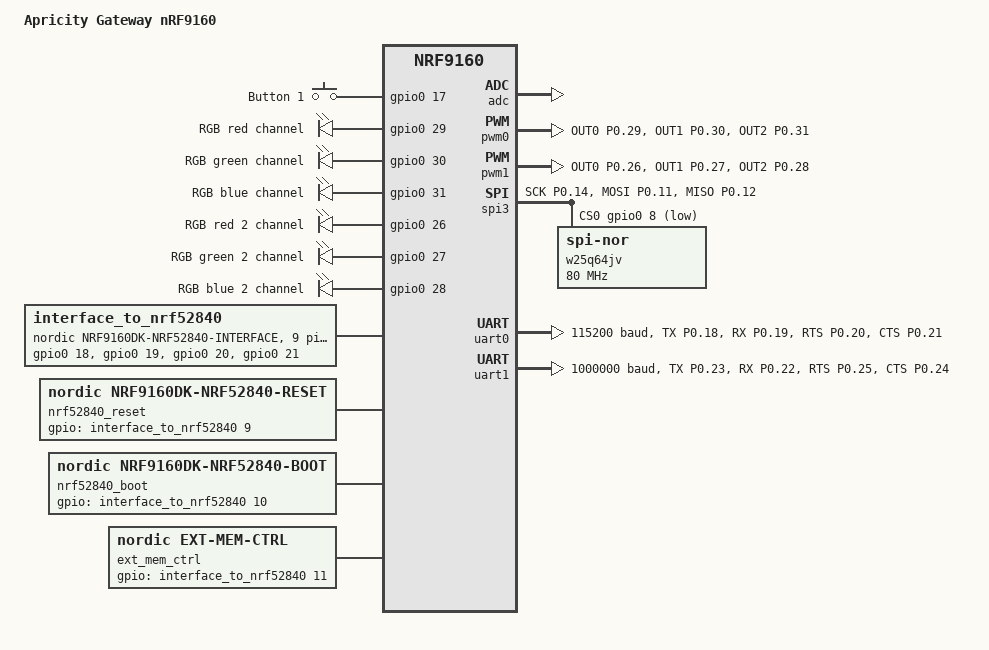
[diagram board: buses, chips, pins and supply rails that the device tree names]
/*
 * Copyright (c) 2025 Nordic Semiconductor ASA
 *
 * SPDX-License-Identifier: LicenseRef-Nordic-5-Clause
 */

/ {
	model = "Apricity Gateway nRF9160";
	compatible = "apricity,apricity-gateway-nrf9160";

	chosen {
		zephyr,console = &uart0;
		zephyr,shell-uart = &uart0;
		zephyr,uart-mcumgr = &uart0;
		zephyr,bt-hci=&bt_hci_uart;
	};

	buttons {
		compatible = "gpio-keys";

		button0: button_0 {
			gpios = <&gpio0 17 0>;
			label = "Button 1";
		};
	};

	leds {
		compatible = "gpio-leds";
		red_led: led_1 {
			gpios = <&gpio0 29 0>;
			label = "RGB red channel";
		};
		green_led: led_2 {
			gpios = <&gpio0 30 0>;
			label = "RGB green channel";
		};
		blue_led: led_3 {
			gpios = <&gpio0 31 0>;
			label = "RGB blue channel";
		};
		red_led_2: led_4 {
			gpios = <&gpio0 26 0>;
			label = "RGB red 2 channel";
		};
		green_led_2: led_5 {
			gpios = <&gpio0 27 0>;
			label = "RGB green 2 channel";
		};
		blue_led_2: led_6 {
			gpios = <&gpio0 28 0>;
			label = "RGB blue 2 channel";
		};
	};

	interface_to_nrf52840: gpio-interface {
		compatible = "nordic,nrf9160dk-nrf52840-interface";
		#gpio-cells = <2>;
		gpio-map-mask = <0xf 0>;
		gpio-map-pass-thru = <0 0xffffffff>;
		gpio-map = <0 0 &gpio0 18 0>,
			   <1 0 &gpio0 19 0>,
			   <2 0 &gpio0 20 0>,
			   <3 0 &gpio0 21 0>,
			   <4 0 &gpio0 22 0>,
			   <5 0 &gpio0 23 0>,
			   /* 6: COEX0 */
			   /* 7: COEX1 */
			   /* 8: COEX2 */
			   <9 0 &gpio0 13 0>,
			   <10 0 &gpio0 5 0>,
			   <11 0 &gpio0 9 0>;
	};

	nrf52840_reset: gpio-reset {
		compatible = "nordic,nrf9160dk-nrf52840-reset";
		status = "okay";
		/*
		 * This line is specified as active high for compatibility
		 * with the previously used Kconfig-based configuration.
		 */
		gpios = <&interface_to_nrf52840 9 GPIO_ACTIVE_HIGH>;
	};

	nrf52840_boot: gpio-boot {
		compatible = "nordic,nrf9160dk-nrf52840-boot";
		status = "okay";
		gpios = <&interface_to_nrf52840 10 GPIO_PULL_UP>;
	};

	ext_mem_ctrl: gpio-ext-mem-ctrl {
		compatible = "nordic,ext-mem-ctrl";
		status = "okay";
		gpios = <&interface_to_nrf52840 11 0>;
	};

	aliases {
		sw0 = &button0;
		led0 = &red_led;
		led1 = &green_led;
		led2 = &blue_led;
		led0-1 = &red_led_2;
		led1-1 = &green_led_2;
		led2-1 = &blue_led_2;
		rgb-pwm = &pwm0;
		rgb2-pwm = &pwm1;
	};
};

&adc {
	status = "okay";
};

&gpiote {
	status = "okay";
};

&gpio0 {
	status = "okay";
};

/* PWM0 is intended for RGB LED control */
&pwm0 {
	compatible = "nordic,nrf-pwm";
	status = "okay";
	pinctrl-0 = <&pwm0_default>;
	pinctrl-1 = <&pwm0_sleep>;
	pinctrl-names = "default", "sleep";
};

/* PWM1 is intended for RGB LED control */
&pwm1 {
	compatible = "nordic,nrf-pwm";
	status = "okay";
	pinctrl-0 = <&pwm1_default>;
	pinctrl-1 = <&pwm1_sleep>;
	pinctrl-names = "default", "sleep";
};

&spi3 {
	compatible = "nordic,nrf-spim";
	status = "okay";
	pinctrl-0 = <&spi3_default_alt>;
	pinctrl-1 = <&spi3_sleep_alt>;
	pinctrl-names = "default", "sleep";
	cs-gpios = <&gpio0 8 1>;
	w25q64jv: w25q64jv@0 {
		status = "okay";
		compatible = "jedec,spi-nor";
		reg = <0>;
		spi-max-frequency = <80000000>;
		jedec-id = [ef 40 17];
		size = <67108864>;
	};
};

&pinctrl {
	spi3_default_alt: spi3_default_alt {
		group1 {
			psels = <NRF_PSEL(SPIM_SCK, 0, 14)>,
				<NRF_PSEL(SPIM_MOSI, 0, 11)>,
				<NRF_PSEL(SPIM_MISO, 0, 12)>;
			nordic,drive-mode = <NRF_DRIVE_H0H1>;
		};
	};

	spi3_sleep_alt: spi3_sleep_alt {
		group1 {
			psels = <NRF_PSEL(SPIM_SCK, 0, 14)>,
				<NRF_PSEL(SPIM_MOSI, 0, 11)>,
				<NRF_PSEL(SPIM_MISO, 0, 12)>;
			low-power-enable;
		};
	};

	pwm0_default: pwm0_default {
		group1 {
			psels = <NRF_PSEL(PWM_OUT0, 0, 29)>,
				<NRF_PSEL(PWM_OUT1, 0, 30)>,
				<NRF_PSEL(PWM_OUT2, 0, 31)>;
			nordic,invert;
		};
	};

	pwm0_sleep: pwm0_sleep {
		group1 {
			psels = <NRF_PSEL(PWM_OUT0, 0, 29)>,
				<NRF_PSEL(PWM_OUT1, 0, 30)>,
				<NRF_PSEL(PWM_OUT2, 0, 31)>;
			low-power-enable;
			nordic,invert;
		};
	};

	pwm1_default: pwm1_default {
		group1 {
			psels = <NRF_PSEL(PWM_OUT0, 0, 26)>,
				<NRF_PSEL(PWM_OUT1, 0, 27)>,
				<NRF_PSEL(PWM_OUT2, 0, 28)>;
			nordic,invert;
		};
	};

	pwm1_sleep: pwm1_sleep {
		group1 {
			psels = <NRF_PSEL(PWM_OUT0, 0, 26)>,
				<NRF_PSEL(PWM_OUT1, 0, 27)>,
				<NRF_PSEL(PWM_OUT2, 0, 28)>;
			low-power-enable;
			nordic,invert;
		};
	};

	uart0_default: uart0_default {
		group1 {
			psels = <NRF_PSEL(UART_TX, 0, 18)>,
				<NRF_PSEL(UART_RX, 0, 19)>,
				<NRF_PSEL(UART_RTS, 0, 20)>,
				<NRF_PSEL(UART_CTS, 0, 21)>;
		};
	};

	uart0_sleep: uart0_sleep {
		group1 {
			psels = <NRF_PSEL(UART_TX, 0, 18)>,
				<NRF_PSEL(UART_RX, 0, 19)>,
				<NRF_PSEL(UART_RTS, 0, 20)>,
				<NRF_PSEL(UART_CTS, 0, 21)>;
			low-power-enable;
		};
	};

	uart1_default: uart1_default {
		group1 {
			psels = <NRF_PSEL(UART_TX, 0, 23)>,
				<NRF_PSEL(UART_RX, 0, 22)>,
				<NRF_PSEL(UART_RTS, 0, 25)>,
				<NRF_PSEL(UART_CTS, 0, 24)>;
		};
	};

	uart1_sleep: uart1_sleep {
		group1 {
			psels = <NRF_PSEL(UART_TX, 0, 23)>,
				<NRF_PSEL(UART_RX, 0, 22)>,
				<NRF_PSEL(UART_RTS, 0, 25)>,
				<NRF_PSEL(UART_CTS, 0, 24)>;
			low-power-enable;
		};
	};
};

&uart0 {
	compatible = "nordic,nrf-uarte";
	current-speed = <115200>;
	status = "okay";
	pinctrl-0 = <&uart0_default>;
	pinctrl-1 = <&uart0_sleep>;
	pinctrl-names = "default", "sleep";
};

&uart1 {
	compatible = "nordic,nrf-uarte";
	current-speed = <1000000>;
	status = "okay";
	hw-flow-control;
	pinctrl-0 = <&uart1_default>;
	pinctrl-1 = <&uart1_sleep>;
	pinctrl-names = "default", "sleep";
	bt_hci_uart: bt_hci_uart {
		compatible = "zephyr,bt-hci-uart";
		status = "okay";
	};
};

&flash0 {
	/*
	 * For more information, see:
	 * http://docs.zephyrproject.org/devices/dts/flash_partitions.html
	 */
	partitions {
		compatible = "fixed-partitions";
		#address-cells = <1>;
		#size-cells = <1>;

		boot_partition: partition@0 {
			label = "mcuboot";
			reg = <0x00000000 0x10000>;
		};
		slot0_partition: partition@10000 {
			label = "image-0";
		};
		slot0_ns_partition: partition@50000 {
			label = "image-0-nonsecure";
		};
		slot1_partition: partition@80000 {
			label = "image-1";
		};
		slot1_ns_partition: partition@c0000 {
			label = "image-1-nonsecure";
		};
		scratch_partition: partition@f0000 {
			label = "image-scratch";
			reg = <0x000f0000 0xa000>;
		};
		/* 0xf0000 to 0xf7fff reserved for TF-M partitions */
		storage_partition: partition@fa000 {
			label = "storage";
			reg = <0x000f8000 0x00008000>;
		};
	};
};

/ {

	reserved-memory {
		#address-cells = <1>;
		#size-cells = <1>;
		ranges;

		sram0_s: image_s@20000000 {
			/* Secure image memory */
		};

		sram0_bsd: image_modem@20010000 {
			/* Modem (shared) memory */
		};

		sram0_ns: image_ns@20020000 {
			/* Non-Secure image memory */
		};
	};
};

/* Include partition configuration file */
#include "apricity_gateway_nrf9160_partition_conf.dts"
